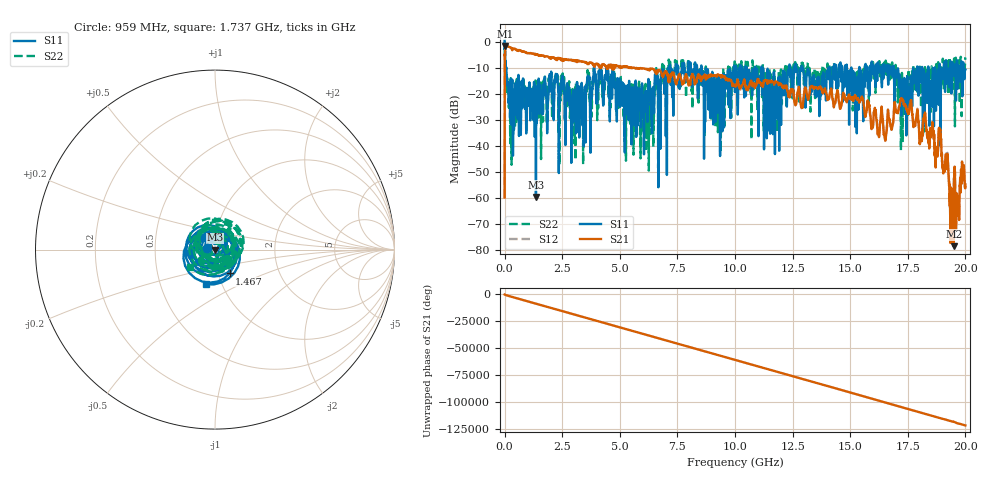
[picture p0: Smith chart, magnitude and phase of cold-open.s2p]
! MS46122B
! 2250307/22442219
! 2/18/2026 9:21:10 AM
! C:\USERS\SPARKY\DOCUMENTS\VNA_DATA\FEB18_2026\COLD-OPEN.S2P
! CHANNEL.1
! TR.MEASUREMENT
! RAW.DATA
# GHZ S RI R 50.0
! FREQ.GHZ  S11RE  S11IM  S21RE  S21IM  S12RE  S12IM  S22RE  S22IM
!; PortSelection: Port_12
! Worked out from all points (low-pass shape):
!   10001 points, 1 MHz to 20 GHz, reference 50 ohm
!   highest |S21| = -1.66 dB at 33 MHz (marker M1); lowest = -78.7 dB at 19.49 GHz (marker M2)
!   |S21| within 3 dB of the highest: 20.03 MHz to 1.177 GHz (1.157 GHz wide, 193 % of centre); 1.188 GHz to 1.208 GHz (20.21 MHz wide, 1.69 % of centre) (the widest 2 of 3)
!   lowest |S11| = -59.8 dB at 1.361 GHz (marker M3), VSWR 1.00, Z = 50 - j0.102 ohm
!   |S11| at or under -10 dB: 73.31 MHz to 3.879 GHz (3.805 GHz wide, 193 % of centre); 4.437 GHz to 7.119 GHz (2.682 GHz wide, 46.4 % of centre); 8.552 GHz to 9.953 GHz (1.401 GHz wide, 15.1 % of centre) (the widest 3 of 68)
!   |S22| runs from -49.6 to -0.2 dB; largest |S21 - S12| = 0.066
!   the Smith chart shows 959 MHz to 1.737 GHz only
!   S11 on the Smith chart (normalised r, x): 959 MHz: 0.91, +0.01; 1.467 GHz: 1.13, -0.31; 1.737 GHz: 0.84, -0.34
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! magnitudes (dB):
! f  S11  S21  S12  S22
! 1 MHz  0.4  -60.0  -60.0  -0.2
! 33 MHz  -8.9  -1.7  -2.0  -10.2
! 109 MHz  -14.5  -1.8  -1.9  -14.1
! 311 MHz  -19.7  -2.6  -2.6  -19.9
! 959 MHz  -26.9  -4.3  -4.3  -21.6
! 1.361 GHz  -59.8  -4.9  -4.8  -30.0
! 1.467 GHz  -16.2  -5.1  -5.2  -22.8
! 1.737 GHz  -14.0  -5.8  -5.8  -15.3
! 3.335 GHz  -17.6  -7.8  -7.8  -17.5
! 4.139 GHz  -10.8  -9.7  -9.8  -11.7
! 5.245 GHz  -20.0  -9.5  -9.5  -28.1
! 6.669 GHz  -30.5  -11.0  -11.0  -33.1
! 7.749 GHz  -11.5  -15.6  -15.8  -7.3
! 9.361 GHz  -20.5  -13.0  -12.9  -32.3
! 10 GHz  -18.9  -17.2  -16.5  -8.6
! 13.33 GHz  -19.4  -17.1  -17.2  -15.9
! 16.67 GHz  -11.9  -29.3  -29.2  -11.6
! 17.26 GHz  -14.6  -22.3  -22.1  -13.5
! 18.24 GHz  -21.2  -27.4  -27.3  -9.8
! 18.89 GHz  -9.3  -34.1  -34.4  -11.5
! 19.49 GHz  -12.4  -78.7  -78.6  -9.6
! 20 GHz  -10.8  -55.0  -55.7  -6.1
